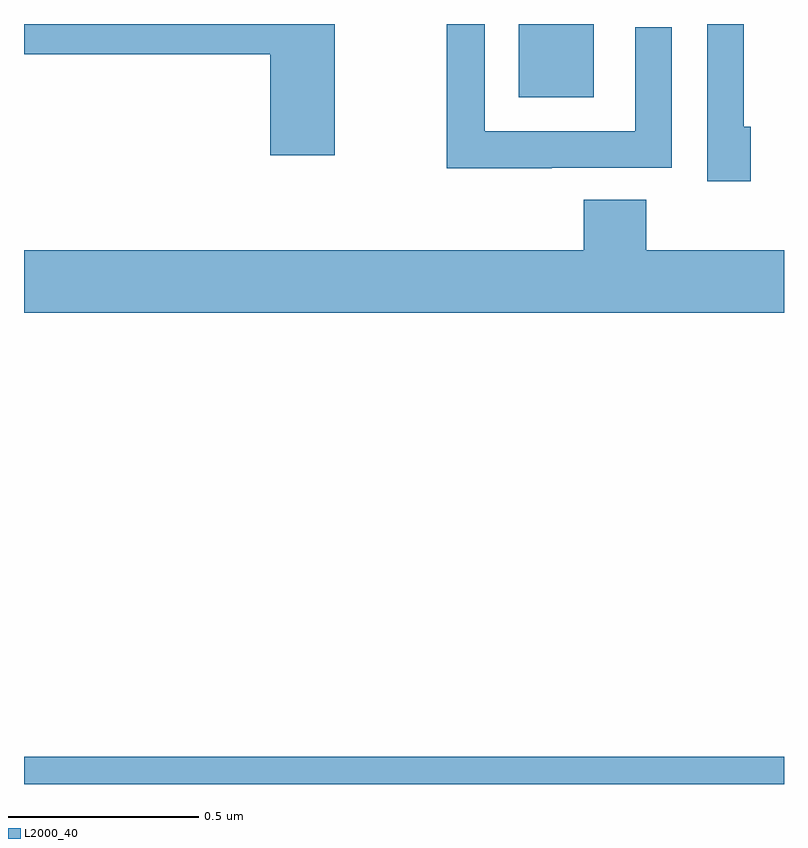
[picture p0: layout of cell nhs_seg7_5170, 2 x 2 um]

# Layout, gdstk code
import gdstk
lib = gdstk.Library(unit=1e-6, precision=1e-09)
def R(c, l, rs):  # rectangles x0, y0, x1, y1
    for r in rs: c.add(gdstk.rectangle(r[:2], r[2:], *l))
def P(c, l, *ps):  # polygons
    for p in ps: c.add(gdstk.Polygon(p, *l))
L2000_40 = (2000, 40)

nhs_seg7_5170 = lib.new_cell('nhs_seg7_5170')
R(nhs_seg7_5170, L2000_40, [(182,1042,184,1042.072), (183.302,1043.807,183.499,1044)])
P(nhs_seg7_5170, L2000_40, [(182.818,1044),(182,1044),(182,1043.92),(182.648,1043.92),(182.648,1043.655),(182.818,1043.655)],
  [(183.913,1043.73),(183.894,1043.73),(183.894,1044),(183.798,1044),(183.798,1043.586),(183.913,1043.586)],
  [(183.389,1043.622),(183.705,1043.622),(183.705,1043.992),(183.609,1043.992),(183.609,1043.718),(183.213,1043.718),(183.213,1044),(183.112,1044),(183.112,1043.621),(183.389,1043.621)],
  [(184,1043.404),(183.638,1043.404),(183.638,1043.537),(183.473,1043.537),(183.473,1043.404),(182,1043.404),(182,1043.24),(184,1043.24)])

lib.write_gds('nhs_seg7_5170.gds')
